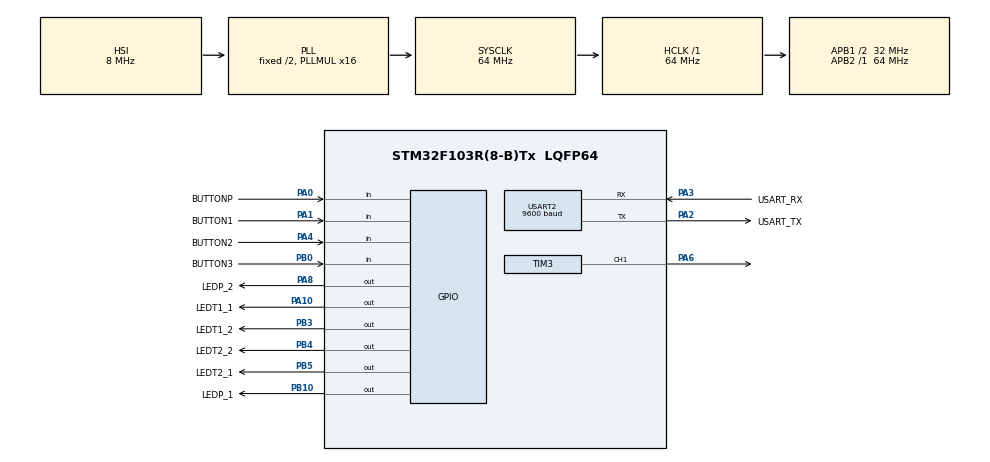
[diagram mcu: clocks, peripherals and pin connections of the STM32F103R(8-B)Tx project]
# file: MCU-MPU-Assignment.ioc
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Mcu.Family=STM32F1
Mcu.Name=STM32F103R(8-B)Tx
Mcu.Package=LQFP64
NVIC.PriorityGroup=NVIC_PRIORITYGROUP_4
NVIC.TIM2_IRQn=true\:0\:0\:false\:false\:true\:true\:true
NVIC.TIM3_IRQn=true\:0\:0\:false\:false\:true\:true\:true
PA0-WKUP.GPIO_Label=BUTTONP
PA0-WKUP.GPIO_PuPd=GPIO_PULLUP
PA0-WKUP.Signal=GPIO_Input
PA1.GPIO_Label=BUTTON1
PA1.GPIO_PuPd=GPIO_PULLUP
PA1.Signal=GPIO_Input
PA10.GPIO_Label=LEDT1_1
PA10.Signal=GPIO_Output
PA13.Mode=Serial_Wire
PA13.Signal=SYS_JTMS-SWDIO
PA14.Mode=Serial_Wire
PA14.Signal=SYS_JTCK-SWCLK
PA2.GPIO_Label=USART_TX
PA2.GPIO_Mode=GPIO_MODE_AF_PP
PA2.GPIO_PuPd=GPIO_NOPULL
PA2.GPIO_Speed=GPIO_SPEED_FREQ_LOW
PA2.Mode=Asynchronous
PA2.Signal=USART2_TX
PA3.GPIO_Label=USART_RX
PA3.GPIO_Mode=GPIO_MODE_AF_PP
PA3.GPIO_PuPd=GPIO_NOPULL
PA3.GPIO_Speed=GPIO_SPEED_FREQ_LOW
PA3.Mode=Asynchronous
PA3.Signal=USART2_RX
PA4.GPIO_Label=BUTTON2
PA4.GPIO_PuPd=GPIO_PULLUP
PA4.Signal=GPIO_Input
PA6.Signal=S_TIM3_CH1
PA8.GPIO_Label=LEDP_2
PA8.Signal=GPIO_Output
PB0.GPIO_Label=BUTTON3
PB0.GPIO_PuPd=GPIO_PULLUP
PB0.Signal=GPIO_Input
PB10.GPIO_Label=LEDP_1
PB10.Signal=GPIO_Output
PB3.GPIO_Label=LEDT1_2
PB3.Signal=GPIO_Output
PB4.GPIO_Label=LEDT2_2
PB4.Signal=GPIO_Output
PB5.GPIO_Label=LEDT2_1
PB5.Signal=GPIO_Output
ProjectManager.HeapSize=0x200
ProjectManager.StackSize=0x400
ProjectManager.TargetToolchain=STM32CubeIDE
RCC.AHBFreq_Value=64000000
RCC.APB1CLKDivider=RCC_HCLK_DIV2
RCC.APB1Freq_Value=32000000
RCC.APB1TimFreq_Value=64000000
RCC.APB2Freq_Value=64000000
RCC.APB2TimFreq_Value=64000000
RCC.HCLKFreq_Value=64000000
RCC.PLLMUL=RCC_PLL_MUL16
RCC.RTCClockSelection=RCC_RTCCLKSOURCE_LSE
RCC.SYSCLKFreq_VALUE=64000000
RCC.SYSCLKSource=RCC_SYSCLKSOURCE_PLLCLK
RCC.USBFreq_Value=64000000
SH.S_TIM3_CH1.0=TIM3_CH1,PWM Generation1 CH1
TIM2.Period=9999
TIM2.Prescaler=63
TIM3.Channel-PWM\ Generation1\ CH1=TIM_CHANNEL_1
TIM3.Period=999
TIM3.Prescaler=63
USART2.BaudRate=9600
USART2.VirtualMode=VM_ASYNC
VP_TIM2_VS_ClockSourceINT.Mode=Internal
VP_TIM3_VS_ClockSourceINT.Mode=Internal
board=NUCLEO-F103RB

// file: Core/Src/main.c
/* USER CODE BEGIN Header */
/**
  ******************************************************************************
  * @file           : main.c
  * @brief          : Main program body
  ******************************************************************************
  * @attention
  *
  * <h2><center>&copy; Copyright (c) 2022 STMicroelectronics.
  * All rights reserved.</center></h2>
  *
  * This software component is licensed by ST under BSD 3-Clause license,
  * the "License"; You may not use this file except in compliance with the
  * License. You may obtain a copy of the License at:
  *                        opensource.org/licenses/BSD-3-Clause
  *
  ******************************************************************************
  */
/* USER CODE END Header */
#include "main.h"

/* USER CODE BEGIN Includes */
#include <stdio.h>
#include "software_timer.h"
#include "fsm.h"
#include "button.h"
/* USER CODE END Includes */

TIM_HandleTypeDef htim2;
TIM_HandleTypeDef htim3;

UART_HandleTypeDef huart2;

void SystemClock_Config(void);
static void MX_GPIO_Init(void);
static void MX_USART2_UART_Init(void);
static void MX_TIM2_Init(void);
static void MX_TIM3_Init(void);

/* USER CODE BEGIN 0 */
int index_buffer = 0;
uint8_t temp = 0;
void HAL_UART_RxCpltCallback(UART_HandleTypeDef *huart) {
	if (huart->Instance == USART2) {
	}
}
/* USER CODE END 0 */

int main(void)
{

  /* MCU Configuration--------------------------------------------------------*/

  /* Reset of all peripherals, Initializes the Flash interface and the Systick. */
  HAL_Init();

  /* Configure the system clock */
  SystemClock_Config();

  /* Initialize all configured peripherals */
  MX_GPIO_Init();
  MX_USART2_UART_Init();
  MX_TIM2_Init();
  MX_TIM3_Init();
  /* USER CODE BEGIN 2 */
  HAL_TIM_Base_Start_IT(&htim2);
  HAL_TIM_Base_Start_IT(&htim3);
  HAL_TIM_PWM_Start(&htim3, TIM_CHANNEL_1);
  HAL_UART_Receive_IT(&huart2, &temp, 1);
  /* USER CODE END 2 */

  /* Infinite loop */
  while (1)
  {

    /* USER CODE BEGIN 3 */
	fsm_automatic_run();
	fsm_manual_run();
	fsm_tuning_run();
	fsm_pedestrian_run(htim3);
//	if (buffer_flag == 1) {
//		command_parser_fsm();
//		buffer_flag = 0;
//	}
//	uart_communication_fsm();
//	__HAL_TIM_SetCompare(&htim3, TIM_CHANNEL_1, 1000);
//	HAL_Delay(1000);
//	__HAL_TIM_SetCompare(&htim3, TIM_CHANNEL_1, 500);
//	HAL_Delay(1000);
//	__HAL_TIM_SetCompare(&htim3, TIM_CHANNEL_1, 50);
//	HAL_Delay(1000);
  }
  /* USER CODE END 3 */
}

void SystemClock_Config(void)
{
  RCC_OscInitTypeDef RCC_OscInitStruct = {0};
  RCC_ClkInitTypeDef RCC_ClkInitStruct = {0};

  /** Initializes the RCC Oscillators according to the specified parameters
  * in the RCC_OscInitTypeDef structure.
  */
  RCC_OscInitStruct.OscillatorType = RCC_OSCILLATORTYPE_HSI;
  RCC_OscInitStruct.HSIState = RCC_HSI_ON;
  RCC_OscInitStruct.HSICalibrationValue = RCC_HSICALIBRATION_DEFAULT;
  RCC_OscInitStruct.PLL.PLLState = RCC_PLL_ON;
  RCC_OscInitStruct.PLL.PLLSource = RCC_PLLSOURCE_HSI_DIV2;
  RCC_OscInitStruct.PLL.PLLMUL = RCC_PLL_MUL16;
  if (HAL_RCC_OscConfig(&RCC_OscInitStruct) != HAL_OK)
  {
    Error_Handler();
  }
  /** Initializes the CPU, AHB and APB buses clocks
  */
  RCC_ClkInitStruct.ClockType = RCC_CLOCKTYPE_HCLK|RCC_CLOCKTYPE_SYSCLK
                              |RCC_CLOCKTYPE_PCLK1|RCC_CLOCKTYPE_PCLK2;
  RCC_ClkInitStruct.SYSCLKSource = RCC_SYSCLKSOURCE_PLLCLK;
  RCC_ClkInitStruct.AHBCLKDivider = RCC_SYSCLK_DIV1;
  RCC_ClkInitStruct.APB1CLKDivider = RCC_HCLK_DIV2;
  RCC_ClkInitStruct.APB2CLKDivider = RCC_HCLK_DIV1;

  if (HAL_RCC_ClockConfig(&RCC_ClkInitStruct, FLASH_LATENCY_2) != HAL_OK)
  {
    Error_Handler();
  }
}

static void MX_TIM2_Init(void)
{

  TIM_ClockConfigTypeDef sClockSourceConfig = {0};
  TIM_MasterConfigTypeDef sMasterConfig = {0};

  htim2.Instance = TIM2;
  htim2.Init.Prescaler = 63;
  htim2.Init.CounterMode = TIM_COUNTERMODE_UP;
  htim2.Init.Period = 9999;
  htim2.Init.ClockDivision = TIM_CLOCKDIVISION_DIV1;
  htim2.Init.AutoReloadPreload = TIM_AUTORELOAD_PRELOAD_DISABLE;
  if (HAL_TIM_Base_Init(&htim2) != HAL_OK)
  {
    Error_Handler();
  }
  sClockSourceConfig.ClockSource = TIM_CLOCKSOURCE_INTERNAL;
  if (HAL_TIM_ConfigClockSource(&htim2, &sClockSourceConfig) != HAL_OK)
  {
    Error_Handler();
  }
  sMasterConfig.MasterOutputTrigger = TIM_TRGO_RESET;
  sMasterConfig.MasterSlaveMode = TIM_MASTERSLAVEMODE_DISABLE;
  if (HAL_TIMEx_MasterConfigSynchronization(&htim2, &sMasterConfig) != HAL_OK)
  {
    Error_Handler();
  }

}

static void MX_TIM3_Init(void)
{

  TIM_ClockConfigTypeDef sClockSourceConfig = {0};
  TIM_MasterConfigTypeDef sMasterConfig = {0};
  TIM_OC_InitTypeDef sConfigOC = {0};

  htim3.Instance = TIM3;
  htim3.Init.Prescaler = 63;
  htim3.Init.CounterMode = TIM_COUNTERMODE_UP;
  htim3.Init.Period = 999;
  htim3.Init.ClockDivision = TIM_CLOCKDIVISION_DIV1;
  htim3.Init.AutoReloadPreload = TIM_AUTORELOAD_PRELOAD_DISABLE;
  if (HAL_TIM_Base_Init(&htim3) != HAL_OK)
  {
    Error_Handler();
  }
  sClockSourceConfig.ClockSource = TIM_CLOCKSOURCE_INTERNAL;
  if (HAL_TIM_ConfigClockSource(&htim3, &sClockSourceConfig) != HAL_OK)
  {
    Error_Handler();
  }
  if (HAL_TIM_PWM_Init(&htim3) != HAL_OK)
  {
    Error_Handler();
  }
  sMasterConfig.MasterOutputTrigger = TIM_TRGO_RESET;
  sMasterConfig.MasterSlaveMode = TIM_MASTERSLAVEMODE_DISABLE;
  if (HAL_TIMEx_MasterConfigSynchronization(&htim3, &sMasterConfig) != HAL_OK)
  {
    Error_Handler();
  }
  sConfigOC.OCMode = TIM_OCMODE_PWM1;
  sConfigOC.Pulse = 0;
  sConfigOC.OCPolarity = TIM_OCPOLARITY_HIGH;
  sConfigOC.OCFastMode = TIM_OCFAST_DISABLE;
  if (HAL_TIM_PWM_ConfigChannel(&htim3, &sConfigOC, TIM_CHANNEL_1) != HAL_OK)
  {
    Error_Handler();
  }
  HAL_TIM_MspPostInit(&htim3);

}

static void MX_USART2_UART_Init(void)
{

  huart2.Instance = USART2;
  huart2.Init.BaudRate = 9600;
  huart2.Init.WordLength = UART_WORDLENGTH_8B;
  huart2.Init.StopBits = UART_STOPBITS_1;
  huart2.Init.Parity = UART_PARITY_NONE;
  huart2.Init.Mode = UART_MODE_TX_RX;
  huart2.Init.HwFlowCtl = UART_HWCONTROL_NONE;
  huart2.Init.OverSampling = UART_OVERSAMPLING_16;
  if (HAL_UART_Init(&huart2) != HAL_OK)
  {
    Error_Handler();
  }

}

static void MX_GPIO_Init(void)
{
  GPIO_InitTypeDef GPIO_InitStruct = {0};

  /* GPIO Ports Clock Enable */
  __HAL_RCC_GPIOA_CLK_ENABLE();
  __HAL_RCC_GPIOB_CLK_ENABLE();

  /*Configure GPIO pin Output Level */
  HAL_GPIO_WritePin(GPIOB, LEDP_1_Pin|LEDT1_2_Pin|LEDT2_2_Pin|LEDT2_1_Pin, GPIO_PIN_RESET);

  /*Configure GPIO pin Output Level */
  HAL_GPIO_WritePin(GPIOA, LEDP_2_Pin|LEDT1_1_Pin, GPIO_PIN_RESET);

  /*Configure GPIO pins : BUTTONP_Pin BUTTON1_Pin BUTTON2_Pin */
  GPIO_InitStruct.Pin = BUTTONP_Pin|BUTTON1_Pin|BUTTON2_Pin;
  GPIO_InitStruct.Mode = GPIO_MODE_INPUT;
  GPIO_InitStruct.Pull = GPIO_PULLUP;
  HAL_GPIO_Init(GPIOA, &GPIO_InitStruct);

  /*Configure GPIO pin : BUTTON3_Pin */
  GPIO_InitStruct.Pin = BUTTON3_Pin;
  GPIO_InitStruct.Mode = GPIO_MODE_INPUT;
  GPIO_InitStruct.Pull = GPIO_PULLUP;
  HAL_GPIO_Init(BUTTON3_GPIO_Port, &GPIO_InitStruct);

  /*Configure GPIO pins : LEDP_1_Pin LEDT1_2_Pin LEDT2_2_Pin LEDT2_1_Pin */
  GPIO_InitStruct.Pin = LEDP_1_Pin|LEDT1_2_Pin|LEDT2_2_Pin|LEDT2_1_Pin;
  GPIO_InitStruct.Mode = GPIO_MODE_OUTPUT_PP;
  GPIO_InitStruct.Pull = GPIO_NOPULL;
  GPIO_InitStruct.Speed = GPIO_SPEED_FREQ_LOW;
  HAL_GPIO_Init(GPIOB, &GPIO_InitStruct);

  /*Configure GPIO pins : LEDP_2_Pin LEDT1_1_Pin */
  GPIO_InitStruct.Pin = LEDP_2_Pin|LEDT1_1_Pin;
  GPIO_InitStruct.Mode = GPIO_MODE_OUTPUT_PP;
  GPIO_InitStruct.Pull = GPIO_NOPULL;
  GPIO_InitStruct.Speed = GPIO_SPEED_FREQ_LOW;
  HAL_GPIO_Init(GPIOA, &GPIO_InitStruct);

}

/* USER CODE BEGIN 4 */
void HAL_TIM_PeriodElapsedCallback(TIM_HandleTypeDef *htim){
	if (htim->Instance == TIM2) {
		timerRun();
		getKeyInput();
	}

}
/* USER CODE END 4 */

void Error_Handler(void)
{
  __disable_irq();
  while (1)
  {
  }
}

/************************ (C) COPYRIGHT STMicroelectronics *****END OF FILE****/
